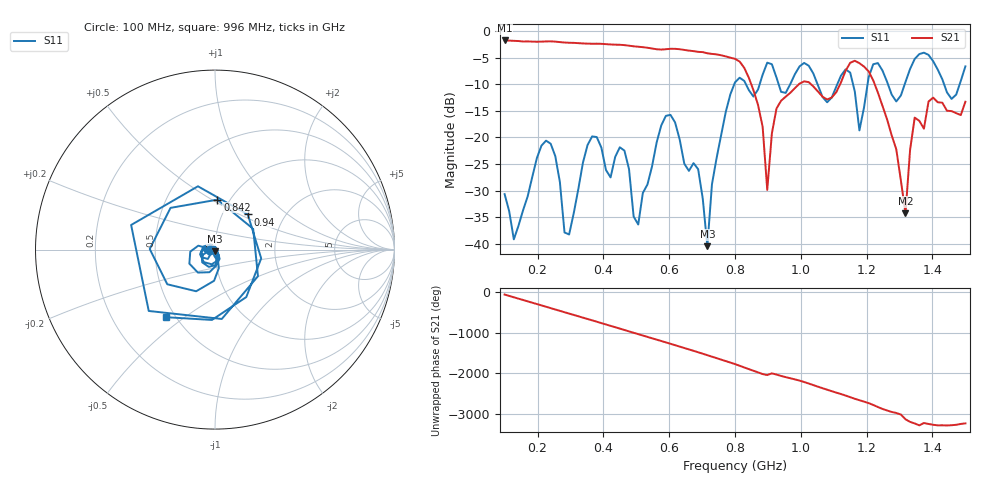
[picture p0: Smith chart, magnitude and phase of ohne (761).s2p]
! NanoVNA-App
! Date: 2025-09-25 14:26:43
! Start: 100MHz Stop: 1,5GHz Points: 101
! S-Parameter data: F S11 S21 S12 S22
# Hz S RI R 50
!  Frequency  S11_Real  S11_Imag  S21_Real  S21_Imag  S12_Real  S12_Imag  S22_Real  S22_Imag
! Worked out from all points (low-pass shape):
!   101 points, 100 MHz to 1.5 GHz, reference 50 ohm
!   highest |S21| = -1.79 dB at 100 MHz (marker M1); lowest = -34.2 dB at 1.318 GHz (marker M2)
!   |S21| within 3 dB of the highest: start of sweep to 772.2 MHz
!   lowest |S11| = -40.4 dB at 716 MHz (marker M3), VSWR 1.02, Z = 49.7 - j0.909 ohm
!   |S11| at or under -10 dB: start of sweep to 797.9 MHz; 833 MHz to 875 MHz (42 MHz wide, 4.92 % of centre); 1.051 GHz to 1.111 GHz (60.18 MHz wide, 5.57 % of centre) (the widest 3 of 7)
!   S12 and S22 are empty: the file has one direction only
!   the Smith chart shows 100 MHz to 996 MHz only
!   S11 on the Smith chart (normalised r, x): 100 MHz: 0.94, -0.01; 842 MHz: 0.88, +0.53; 940 MHz: 1.31, +0.55; 996 MHz: 0.45, -0.43
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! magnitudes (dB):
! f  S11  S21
! 100 MHz  -30.6  -1.8
! 128 MHz  -39.1  -1.9
! 226 MHz  -20.6  -2.0
! 296 MHz  -38.2  -2.2
! 338 MHz  -24.7  -2.4
! 464 MHz  -22.5  -2.7
! 506 MHz  -36.3  -3.0
! 576 MHz  -17.7  -3.5
! 688 MHz  -25.9  -3.9
! 716 MHz  -40.4  -4.2
! 800 MHz  -9.7  -5.2
! 842 MHz  -11.1  -8.8
! 898 MHz  -6.0  -29.8
! 940 MHz  -11.4  -13.1
! 996 MHz  -6.7  -9.9
! 1.038 GHz  -8.0  -10.4
! 1.178 GHz  -18.7  -6.1
! 1.22 GHz  -6.3  -9.3
! 1.276 GHz  -11.9  -19.6
! 1.318 GHz  -9.6  -34.2
! 1.346 GHz  -5.3  -16.3
! 1.5 GHz  -6.7  -13.3
